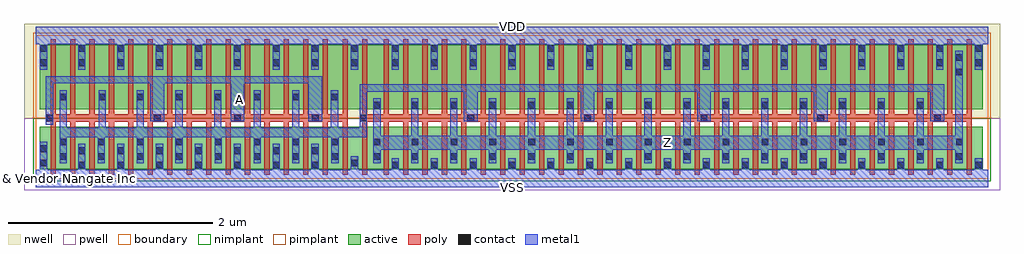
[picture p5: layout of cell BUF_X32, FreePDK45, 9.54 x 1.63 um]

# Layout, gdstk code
import gdstk
lib = gdstk.Library(unit=1e-6, precision=1e-10)
def R(c, l, rs):  # rectangles x0, y0, x1, y1
    for r in rs: c.add(gdstk.rectangle(r[:2], r[2:], *l))
def A(c, l, x, y, w, h, nx, ny, dx, dy):  # array of equal rectangles
    R(c, l, [(x+i*dx, y+j*dy, x+i*dx+w, y+j*dy+h) for i in range(nx) for j in range(ny)])
def P(c, l, *ps):  # polygons
    for p in ps: c.add(gdstk.Polygon(p, *l))
active = (1, 0)
pwell = (2, 0)
nwell = (3, 0)
nimplant = (4, 0)
pimplant = (5, 0)
poly = (9, 0)
contact = (10, 0)
metal1 = (11, 0)
boundary = (235, 0)

buf_x32 = lib.new_cell('BUF_X32')
R(buf_x32, active, [(0.04,0.09,9.255,0.505), (0.04,0.68,9.255,1.31)])
R(buf_x32, pwell, [(-0.115,-0.115,9.425,0.59)])
R(buf_x32, nwell, [(-0.115,0.59,9.425,1.515)])
R(buf_x32, nimplant, [(-0.025,-0.025,9.335,0.59)])
R(buf_x32, pimplant, [(-0.025,0.59,9.335,1.425)])
P(buf_x32, poly, [(0.145,0.04),(0.145,0.555),(0.1,0.555),(0.1,0.63),(0.145,0.63),(0.145,1.36),(0.195,1.36),(0.195,0.63),(0.335,0.63),(0.335,1.36),(0.385,1.36),(0.385,0.63),(0.525,0.63),(0.525,1.36),(0.575,1.36),(0.575,0.63),(0.715,0.63),(0.715,1.36),(0.765,1.36),(0.765,0.63),(0.905,0.63),(0.905,1.36),(0.955,1.36),(0.955,0.63),(1.095,0.63),(1.095,1.36),(1.145,1.36),(1.145,0.63),(1.285,0.63),(1.285,1.36),(1.335,1.36),(1.335,0.63),(1.475,0.63),(1.475,1.36),(1.525,1.36),(1.525,0.63),(1.665,0.63),(1.665,1.36),(1.715,1.36),(1.715,0.63),(1.855,0.63),(1.855,1.36),(1.905,1.36),(1.905,0.63),(2.045,0.63),(2.045,1.36),(2.095,1.36),(2.095,0.63),(2.235,0.63),(2.235,1.36),(2.285,1.36),(2.285,0.63),(2.425,0.63),(2.425,1.36),(2.475,1.36),(2.475,0.63),(2.615,0.63),(2.615,1.36),(2.665,1.36),(2.665,0.63),(2.805,0.63),(2.805,1.36),(2.855,1.36),(2.855,0.63),(3,0.63),(3,1.36),(3.05,1.36),(3.05,0.04),(3,0.04),(3,0.555),(2.855,0.555),(2.855,0.04),(2.805,0.04),(2.805,0.555),(2.665,0.555),(2.665,0.04),(2.615,0.04),(2.615,0.555),(2.475,0.555),(2.475,0.04),(2.425,0.04),(2.425,0.555),(2.285,0.555),(2.285,0.04),(2.235,0.04),(2.235,0.555),(2.095,0.555),(2.095,0.04),(2.045,0.04),(2.045,0.555),(1.905,0.555),(1.905,0.04),(1.855,0.04),(1.855,0.555),(1.715,0.555),(1.715,0.04),(1.665,0.04),(1.665,0.555),(1.525,0.555),(1.525,0.04),(1.475,0.04),(1.475,0.555),(1.335,0.555),(1.335,0.04),(1.285,0.04),(1.285,0.555),(1.145,0.555),(1.145,0.04),(1.095,0.04),(1.095,0.555),(0.955,0.555),(0.955,0.04),(0.905,0.04),(0.905,0.555),(0.765,0.555),(0.765,0.04),(0.715,0.04),(0.715,0.555),(0.575,0.555),(0.575,0.04),(0.525,0.04),(0.525,0.555),(0.385,0.555),(0.385,0.04),(0.335,0.04),(0.335,0.555),(0.195,0.555),(0.195,0.04)],
  [(3.19,0.04),(3.19,0.555),(3.165,0.555),(3.165,0.63),(3.19,0.63),(3.19,1.36),(3.24,1.36),(3.24,0.63),(3.4,0.63),(3.4,1.36),(3.45,1.36),(3.45,0.63),(3.59,0.63),(3.59,1.36),(3.64,1.36),(3.64,0.63),(3.78,0.63),(3.78,1.36),(3.83,1.36),(3.83,0.63),(3.97,0.63),(3.97,1.36),(4.02,1.36),(4.02,0.63),(4.16,0.63),(4.16,1.36),(4.21,1.36),(4.21,0.63),(4.35,0.63),(4.35,1.36),(4.4,1.36),(4.4,0.63),(4.54,0.63),(4.54,1.36),(4.59,1.36),(4.59,0.63),(4.73,0.63),(4.73,1.36),(4.78,1.36),(4.78,0.63),(4.92,0.63),(4.92,1.36),(4.97,1.36),(4.97,0.63),(5.11,0.63),(5.11,1.36),(5.16,1.36),(5.16,0.63),(5.3,0.63),(5.3,1.36),(5.35,1.36),(5.35,0.63),(5.49,0.63),(5.49,1.36),(5.54,1.36),(5.54,0.63),(5.68,0.63),(5.68,1.36),(5.73,1.36),(5.73,0.63),(5.87,0.63),(5.87,1.36),(5.92,1.36),(5.92,0.63),(6.06,0.63),(6.06,1.36),(6.11,1.36),(6.11,0.63),(6.25,0.63),(6.25,1.36),(6.3,1.36),(6.3,0.63),(6.44,0.63),(6.44,1.36),(6.49,1.36),(6.49,0.63),(6.63,0.63),(6.63,1.36),(6.68,1.36),(6.68,0.63),(6.82,0.63),(6.82,1.36),(6.87,1.36),(6.87,0.63),(7.01,0.63),(7.01,1.36),(7.06,1.36),(7.06,0.63),(7.2,0.63),(7.2,1.36),(7.25,1.36),(7.25,0.63),(7.39,0.63),(7.39,1.36),(7.44,1.36),(7.44,0.63),(7.58,0.63),(7.58,1.36),(7.63,1.36),(7.63,0.63),(7.77,0.63),(7.77,1.36),(7.82,1.36),(7.82,0.63),(7.96,0.63),(7.96,1.36),(8.01,1.36),(8.01,0.63),(8.15,0.63),(8.15,1.36),(8.2,1.36),(8.2,0.63),(8.34,0.63),(8.34,1.36),(8.39,1.36),(8.39,0.63),(8.53,0.63),(8.53,1.36),(8.58,1.36),(8.58,0.63),(8.72,0.63),(8.72,1.36),(8.77,1.36),(8.77,0.63),(8.91,0.63),(8.91,1.36),(8.96,1.36),(8.96,0.63),(9.1,0.63),(9.1,1.36),(9.15,1.36),(9.15,0.04),(9.1,0.04),(9.1,0.555),(8.96,0.555),(8.96,0.04),(8.91,0.04),(8.91,0.555),(8.77,0.555),(8.77,0.04),(8.72,0.04),(8.72,0.555),(8.58,0.555),(8.58,0.04),(8.53,0.04),(8.53,0.555),(8.39,0.555),(8.39,0.04),(8.34,0.04),(8.34,0.555),(8.2,0.555),(8.2,0.04),(8.15,0.04),(8.15,0.555),(8.01,0.555),(8.01,0.04),(7.96,0.04),(7.96,0.555),(7.82,0.555),(7.82,0.04),(7.77,0.04),(7.77,0.555),(7.63,0.555),(7.63,0.04),(7.58,0.04),(7.58,0.555),(7.44,0.555),(7.44,0.04),(7.39,0.04),(7.39,0.555),(7.25,0.555),(7.25,0.04),(7.2,0.04),(7.2,0.555),(7.06,0.555),(7.06,0.04),(7.01,0.04),(7.01,0.555),(6.87,0.555),(6.87,0.04),(6.82,0.04),(6.82,0.555),(6.68,0.555),(6.68,0.04),(6.63,0.04),(6.63,0.555),(6.49,0.555),(6.49,0.04),(6.44,0.04),(6.44,0.555),(6.3,0.555),(6.3,0.04),(6.25,0.04),(6.25,0.555),(6.11,0.555),(6.11,0.04),(6.06,0.04),(6.06,0.555),(5.92,0.555),(5.92,0.04),(5.87,0.04),(5.87,0.555),(5.73,0.555),(5.73,0.04),(5.68,0.04),(5.68,0.555),(5.54,0.555),(5.54,0.04),(5.49,0.04),(5.49,0.555),(5.35,0.555),(5.35,0.04),(5.3,0.04),(5.3,0.555),(5.16,0.555),(5.16,0.04),(5.11,0.04),(5.11,0.555),(4.97,0.555),(4.97,0.04),(4.92,0.04),(4.92,0.555),(4.78,0.555),(4.78,0.04),(4.73,0.04),(4.73,0.555),(4.59,0.555),(4.59,0.04),(4.54,0.04),(4.54,0.555),(4.4,0.555),(4.4,0.04),(4.35,0.04),(4.35,0.555),(4.21,0.555),(4.21,0.04),(4.16,0.04),(4.16,0.555),(4.02,0.555),(4.02,0.04),(3.97,0.04),(3.97,0.555),(3.83,0.555),(3.83,0.04),(3.78,0.04),(3.78,0.555),(3.64,0.555),(3.64,0.04),(3.59,0.04),(3.59,0.555),(3.45,0.555),(3.45,0.04),(3.4,0.04),(3.4,0.555),(3.24,0.555),(3.24,0.04)])
A(buf_x32, contact, 0.42, 0.1, 0.065, 0.065, 7, 2, 0.38, 0.14)
A(buf_x32, contact, 3.485, 0.1, 0.065, 0.065, 16, 2, 0.38, 1)
A(buf_x32, contact, 0.61, 0.185, 0.065, 0.065, 7, 2, 0.38, 0.14)
A(buf_x32, contact, 3.675, 0.185, 0.065, 0.065, 15, 2, 0.38, 0.14)
A(buf_x32, contact, 4.22, 0.56, 0.065, 0.065, 5, 1, 1.14, 0)
A(buf_x32, contact, 3.675, 0.685, 0.065, 0.065, 14, 1, 0.38, 0)
A(buf_x32, contact, 0.99, 0.765, 0.065, 0.065, 3, 1, 0.38, 0)
A(buf_x32, contact, 0.42, 1.1, 0.065, 0.065, 7, 2, 0.38, 0.14)
A(buf_x32, contact, 3.485, 1.24, 0.065, 0.065, 16, 1, 0.38, 0)
R(buf_x32, contact, [(0.045,0.12,0.11,0.185), (3.085,0.12,3.15,0.185), (0.235,0.185,0.3,0.25), (3.3,0.185,3.365,0.25), (0.045,0.26,0.11,0.325), (0.235,0.325,0.3,0.39), (3.3,0.325,3.365,0.39), (0.105,0.56,0.17,0.625), (1.155,0.56,1.22,0.625), (1.94,0.56,2.005,0.625), (2.7,0.56,2.765,0.625), (3.17,0.56,3.235,0.625), (3.3,0.685,3.365,0.75), (0.235,0.765,0.3,0.83), (0.615,0.765,0.68,0.83), (2.135,0.765,2.2,0.83), (2.51,0.765,2.575,0.83), (2.89,0.765,2.955,0.83), (8.995,1.01,9.06,1.075), (0.045,1.1,0.11,1.165), (3.085,1.1,3.15,1.165), (8.995,1.15,9.06,1.215), (0.045,1.24,0.11,1.305), (3.085,1.24,3.15,1.305)])
P(buf_x32, metal1, [(0.1,0.525),(0.1,1),(2.8,1),(2.8,0.56),(2.665,0.56),(2.665,0.93),(2.04,0.93),(2.04,0.56),(1.905,0.56),(1.905,0.93),(1.255,0.93),(1.255,0.56),(1.12,0.56),(1.12,0.93),(0.17,0.93),(0.17,0.525)],
  [(0.235,0.15),(0.235,0.865),(0.305,0.865),(0.305,0.495),(0.615,0.495),(0.615,0.865),(0.685,0.865),(0.685,0.495),(0.985,0.495),(0.985,0.865),(1.055,0.865),(1.055,0.495),(1.365,0.495),(1.365,0.865),(1.435,0.865),(1.435,0.495),(1.745,0.495),(1.745,0.865),(1.815,0.865),(1.815,0.495),(2.13,0.495),(2.13,0.865),(2.2,0.865),(2.2,0.495),(2.505,0.495),(2.505,0.865),(2.575,0.865),(2.575,0.495),(2.885,0.495),(2.885,0.865),(2.955,0.865),(2.955,0.495),(3.165,0.495),(3.165,0.92),(8.88,0.92),(8.88,0.56),(8.745,0.56),(8.745,0.85),(7.74,0.85),(7.74,0.56),(7.605,0.56),(7.605,0.85),(6.6,0.85),(6.6,0.56),(6.465,0.56),(6.465,0.85),(5.46,0.85),(5.46,0.56),(5.325,0.56),(5.325,0.85),(4.32,0.85),(4.32,0.56),(4.185,0.56),(4.185,0.85),(3.235,0.85),(3.235,0.405),(2.96,0.405),(2.96,0.15),(2.89,0.15),(2.89,0.405),(2.575,0.405),(2.575,0.15),(2.505,0.15),(2.505,0.405),(2.2,0.405),(2.2,0.15),(2.13,0.15),(2.13,0.405),(1.82,0.405),(1.82,0.15),(1.75,0.15),(1.75,0.405),(1.435,0.405),(1.435,0.15),(1.365,0.15),(1.365,0.405),(1.055,0.405),(1.055,0.15),(0.985,0.15),(0.985,0.405),(0.675,0.405),(0.675,0.15),(0.605,0.15),(0.605,0.405),(0.305,0.405),(0.305,0.15)],
  [(3.3,0.15),(3.3,0.785),(3.37,0.785),(3.37,0.42),(3.67,0.42),(3.67,0.785),(3.74,0.785),(3.74,0.42),(4.05,0.42),(4.05,0.785),(4.12,0.785),(4.12,0.42),(4.43,0.42),(4.43,0.785),(4.5,0.785),(4.5,0.42),(4.81,0.42),(4.81,0.785),(4.88,0.785),(4.88,0.42),(5.19,0.42),(5.19,0.785),(5.26,0.785),(5.26,0.42),(5.57,0.42),(5.57,0.785),(5.64,0.785),(5.64,0.42),(5.95,0.42),(5.95,0.785),(6.02,0.785),(6.02,0.42),(6.33,0.42),(6.33,0.785),(6.4,0.785),(6.4,0.42),(6.71,0.42),(6.71,0.785),(6.78,0.785),(6.78,0.42),(7.09,0.42),(7.09,0.785),(7.16,0.785),(7.16,0.42),(7.47,0.42),(7.47,0.785),(7.54,0.785),(7.54,0.42),(7.85,0.42),(7.85,0.785),(7.92,0.785),(7.92,0.42),(8.23,0.42),(8.23,0.785),(8.3,0.785),(8.3,0.42),(8.61,0.42),(8.61,0.785),(8.68,0.785),(8.68,0.42),(8.99,0.42),(8.99,1.25),(9.06,1.25),(9.06,0.15),(8.99,0.15),(8.99,0.28),(8.68,0.28),(8.68,0.15),(8.61,0.15),(8.61,0.28),(8.3,0.28),(8.3,0.15),(8.23,0.15),(8.23,0.28),(7.92,0.28),(7.92,0.15),(7.85,0.15),(7.85,0.28),(7.54,0.28),(7.54,0.15),(7.47,0.15),(7.47,0.28),(7.16,0.28),(7.16,0.15),(7.09,0.15),(7.09,0.28),(6.78,0.28),(6.78,0.15),(6.71,0.15),(6.71,0.28),(6.4,0.28),(6.4,0.15),(6.33,0.15),(6.33,0.28),(6.02,0.28),(6.02,0.15),(5.95,0.15),(5.95,0.28),(5.64,0.28),(5.64,0.15),(5.57,0.15),(5.57,0.28),(5.26,0.28),(5.26,0.15),(5.19,0.15),(5.19,0.28),(4.88,0.28),(4.88,0.15),(4.81,0.15),(4.81,0.28),(4.5,0.28),(4.5,0.15),(4.43,0.15),(4.43,0.28),(4.12,0.28),(4.12,0.15),(4.05,0.15),(4.05,0.28),(3.74,0.28),(3.74,0.15),(3.67,0.15),(3.67,0.28),(3.37,0.28),(3.37,0.15)],
  [(0,-0.085),(0,0.085),(0.04,0.085),(0.04,0.36),(0.11,0.36),(0.11,0.085),(0.415,0.085),(0.415,0.34),(0.485,0.34),(0.485,0.085),(0.795,0.085),(0.795,0.34),(0.865,0.34),(0.865,0.085),(1.175,0.085),(1.175,0.34),(1.245,0.34),(1.245,0.085),(1.555,0.085),(1.555,0.34),(1.625,0.34),(1.625,0.085),(1.935,0.085),(1.935,0.34),(2.005,0.34),(2.005,0.085),(2.315,0.085),(2.315,0.34),(2.385,0.34),(2.385,0.085),(2.695,0.085),(2.695,0.34),(2.765,0.34),(2.765,0.085),(3.08,0.085),(3.08,0.22),(3.15,0.22),(3.15,0.085),(3.48,0.085),(3.48,0.2),(3.55,0.2),(3.55,0.085),(3.86,0.085),(3.86,0.2),(3.93,0.2),(3.93,0.085),(4.24,0.085),(4.24,0.2),(4.31,0.2),(4.31,0.085),(4.62,0.085),(4.62,0.2),(4.69,0.2),(4.69,0.085),(5,0.085),(5,0.2),(5.07,0.2),(5.07,0.085),(5.38,0.085),(5.38,0.2),(5.45,0.2),(5.45,0.085),(5.76,0.085),(5.76,0.2),(5.83,0.2),(5.83,0.085),(6.14,0.085),(6.14,0.2),(6.21,0.2),(6.21,0.085),(6.52,0.085),(6.52,0.2),(6.59,0.2),(6.59,0.085),(6.9,0.085),(6.9,0.2),(6.97,0.2),(6.97,0.085),(7.28,0.085),(7.28,0.2),(7.35,0.2),(7.35,0.085),(7.66,0.085),(7.66,0.2),(7.73,0.2),(7.73,0.085),(8.04,0.085),(8.04,0.2),(8.11,0.2),(8.11,0.085),(8.42,0.085),(8.42,0.2),(8.49,0.2),(8.49,0.085),(8.8,0.085),(8.8,0.2),(8.87,0.2),(8.87,0.085),(9.18,0.085),(9.18,0.2),(9.25,0.2),(9.25,0.085),(9.31,0.085),(9.31,-0.085)],
  [(0.04,1.065),(0.04,1.315),(0,1.315),(0,1.485),(9.31,1.485),(9.31,1.315),(9.25,1.315),(9.25,1.065),(9.18,1.065),(9.18,1.315),(8.87,1.315),(8.87,1.065),(8.8,1.065),(8.8,1.315),(8.49,1.315),(8.49,1.065),(8.42,1.065),(8.42,1.315),(8.11,1.315),(8.11,1.065),(8.04,1.065),(8.04,1.315),(7.73,1.315),(7.73,1.065),(7.66,1.065),(7.66,1.315),(7.35,1.315),(7.35,1.065),(7.28,1.065),(7.28,1.315),(6.97,1.315),(6.97,1.065),(6.9,1.065),(6.9,1.315),(6.59,1.315),(6.59,1.065),(6.52,1.065),(6.52,1.315),(6.21,1.315),(6.21,1.065),(6.14,1.065),(6.14,1.315),(5.83,1.315),(5.83,1.065),(5.76,1.065),(5.76,1.315),(5.45,1.315),(5.45,1.065),(5.38,1.065),(5.38,1.315),(5.07,1.315),(5.07,1.065),(5,1.065),(5,1.315),(4.69,1.315),(4.69,1.065),(4.62,1.065),(4.62,1.315),(4.31,1.315),(4.31,1.065),(4.24,1.065),(4.24,1.315),(3.93,1.315),(3.93,1.065),(3.86,1.065),(3.86,1.315),(3.55,1.315),(3.55,1.065),(3.48,1.065),(3.48,1.315),(3.15,1.315),(3.15,1.065),(3.08,1.065),(3.08,1.315),(2.765,1.315),(2.765,1.065),(2.695,1.065),(2.695,1.315),(2.385,1.315),(2.385,1.065),(2.315,1.065),(2.315,1.315),(2.005,1.315),(2.005,1.065),(1.935,1.065),(1.935,1.315),(1.625,1.315),(1.625,1.065),(1.555,1.065),(1.555,1.315),(1.245,1.315),(1.245,1.065),(1.175,1.065),(1.175,1.315),(0.865,1.315),(0.865,1.065),(0.795,1.065),(0.795,1.315),(0.485,1.315),(0.485,1.065),(0.415,1.065),(0.415,1.315),(0.11,1.315),(0.11,1.065)])
R(buf_x32, boundary, [(0,0,9.31,1.4)])
buf_x32.add(gdstk.Label('A', (1.995,0.77), layer=11, texttype=0))
buf_x32.add(gdstk.Label('VDD', (4.655,1.485), layer=11, texttype=0))
buf_x32.add(gdstk.Label('VSS', (4.655,-0.085), layer=11, texttype=0))
buf_x32.add(gdstk.Label('Z', (6.175,0.35), layer=11, texttype=0))
buf_x32.add(gdstk.Label('& Vendor Nangate Inc', (0,0), layer=63, texttype=63))
buf_x32.add(gdstk.Label('& Product Open Cell Library', (0,0), layer=63, texttype=63))
buf_x32.add(gdstk.Label('& Version 2010_12', (0,0), layer=63, texttype=63))
buf_x32.add(gdstk.Label('& Instance BUF_X32', (0,0), layer=63, texttype=63))

lib.write_gds('BUF_X32.gds')
